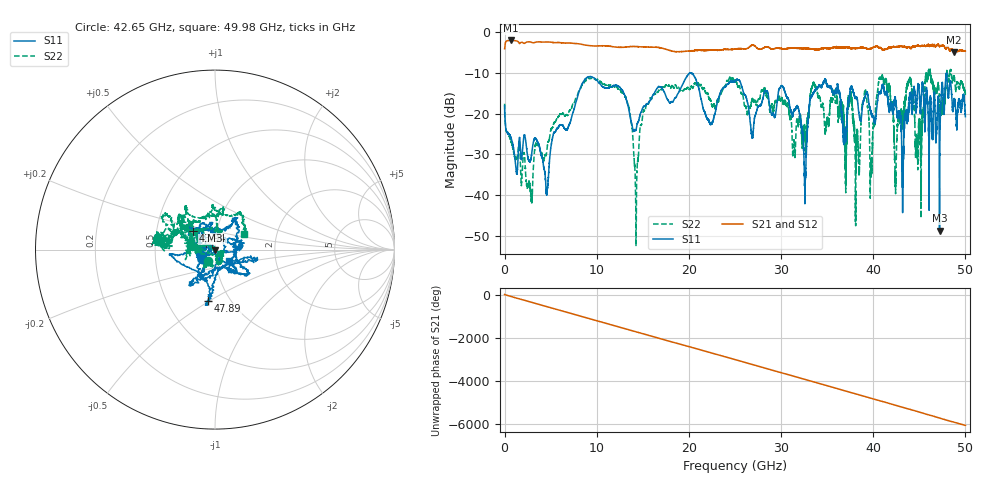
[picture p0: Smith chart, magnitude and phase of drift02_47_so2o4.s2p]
!Created with skrf (http://scikit-rf.org).
# Hz S RI R 50.0
!freq ReS11 ImS11 ReS21 ImS21 ReS12 ImS12 ReS22 ImS22
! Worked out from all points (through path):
!   10001 points, 300 kHz to 50 GHz, reference 50 ohm
!   highest |S21| = -1.99 dB at 645.3 MHz (marker M1); lowest = -4.9 dB at 48.77 GHz (marker M2)
!   group delay of S21, straight-line fit = 337 ps
!   lowest |S11| = -48.7 dB at 47.2 GHz (marker M3), VSWR 1.01, Z = 49.7 - j0.238 ohm
!   |S11| at or under -10 dB: start of sweep to 20.07 GHz; 20.2068 GHz to 20.21984 GHz (13.04 MHz wide, 0.0645 % of centre); 20.24 GHz to end of sweep (the widest 3 of 6)
!   |S22| runs from -52.5 to -9.0 dB; largest |S21 - S12| = 0.03
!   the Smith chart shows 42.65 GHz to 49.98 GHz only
!   S11 on the Smith chart (normalised r, x): 42.65 GHz: 0.86, -0.09; 43.94 GHz: 0.77, +0.16; 47.89 GHz: 0.79, -0.49; 49.98 GHz: 1.15, -0.15
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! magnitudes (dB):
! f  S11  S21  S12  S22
! 300 kHz  -18.0  -4.0  -4.0  -17.5
! 645.3 MHz  -25.6  -2.0  -2.0  -26.4
! 4.575 GHz  -39.7  -2.4  -2.4  -29.1
! 8.335 GHz  -13.0  -2.9  -2.9  -13.2
! 13.01 GHz  -15.3  -3.6  -3.6  -15.7
! 14.28 GHz  -23.8  -3.5  -3.5  -49.7
! 16.67 GHz  -13.3  -3.7  -3.7  -14.5
! 25 GHz  -12.1  -4.1  -4.1  -12.1
! 30.19 GHz  -13.4  -4.1  -4.1  -16.7
! 32.58 GHz  -38.0  -4.0  -4.0  -24.6
! 33.34 GHz  -15.7  -4.0  -4.0  -13.8
! 38.29 GHz  -16.8  -3.9  -3.9  -24.1
! 41.67 GHz  -18.3  -3.8  -3.9  -12.8
! 42.65 GHz  -21.0  -3.5  -3.5  -22.7
! 43.94 GHz  -15.9  -3.6  -3.6  -11.6
! 44.99 GHz  -14.4  -3.3  -3.3  -21.6
! 45.91 GHz  -17.8  -3.1  -3.1  -11.5
! 47.2 GHz  -48.7  -3.5  -3.5  -16.2
! 47.89 GHz  -10.8  -4.1  -4.0  -12.7
! 48.77 GHz  -16.9  -4.9  -4.8  -10.8
! 49.98 GHz  -20.1  -4.6  -4.5  -14.8
! 50 GHz  -20.7  -4.6  -4.6  -15.2
